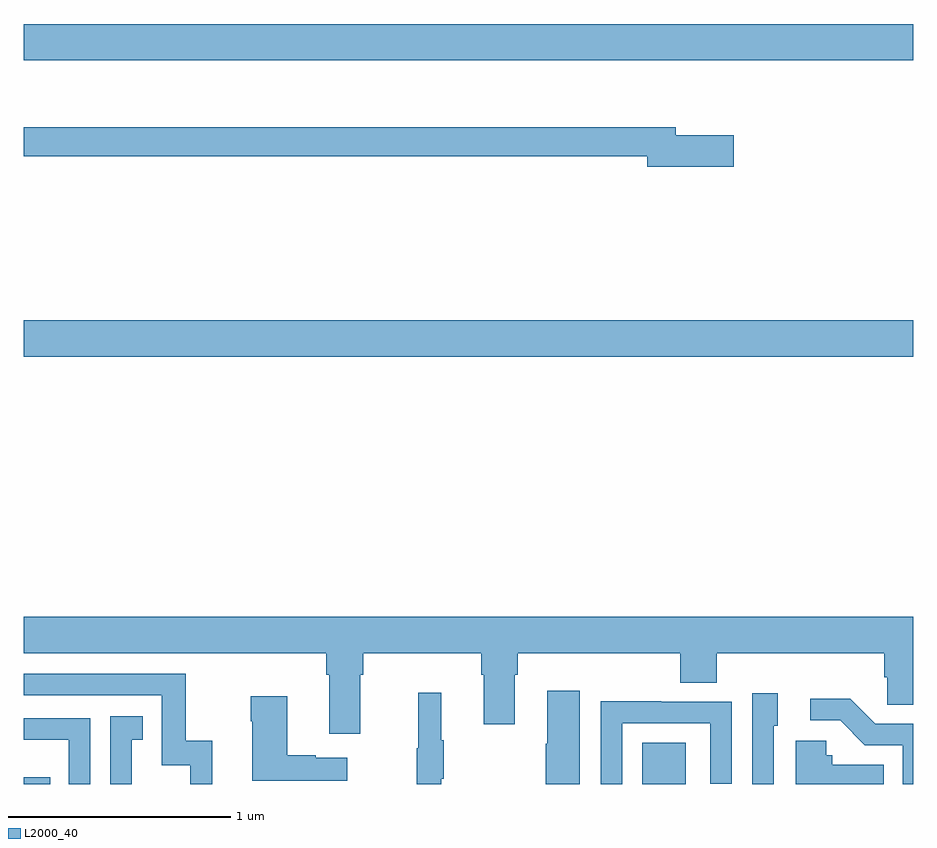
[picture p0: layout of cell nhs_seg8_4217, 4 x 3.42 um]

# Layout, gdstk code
import gdstk
lib = gdstk.Library(unit=1e-6, precision=1e-09)
def R(c, l, rs):  # rectangles x0, y0, x1, y1
    for r in rs: c.add(gdstk.rectangle(r[:2], r[2:], *l))
def P(c, l, *ps):  # polygons
    for p in ps: c.add(gdstk.Polygon(p, *l))
L2000_40 = (2000, 40)

nhs_seg8_4217 = lib.new_cell('nhs_seg8_4217')
R(nhs_seg8_4217, L2000_40, [(369,1127.9,369.119,1127.931), (371.78,1127.9,371.977,1128.085), (369,1129.82,373,1129.984), (369,1131.152,373,1131.316)])
P(nhs_seg8_4217, L2000_40, [(372.193,1130.817),(371.932,1130.817),(371.932,1130.851),(369,1130.851),(369,1130.722),(371.804,1130.722),(371.804,1130.675),(372.193,1130.675)],
  [(369,1128.488),(370.361,1128.488),(370.361,1128.392),(370.373,1128.392),(370.373,1128.126),(370.513,1128.126),(370.513,1128.392),(370.526,1128.392),(370.526,1128.488),(371.057,1128.488),(371.057,1128.392),(371.069,1128.392),(371.069,1128.168),(371.209,1128.168),(371.209,1128.392),(371.222,1128.392),(371.222,1128.488),(371.951,1128.488),(371.951,1128.355),(372.116,1128.355),(372.116,1128.488),(372.869,1128.488),(372.869,1128.379),(372.882,1128.379),(372.882,1128.256),(373,1128.256),(373,1128.652),(369,1128.652)],
  [(369.848,1128.094),(369.73,1128.094),(369.73,1128.396),(369,1128.396),(369,1128.3),(369.621,1128.3),(369.621,1127.985),(369.75,1127.985),(369.75,1127.9),(369.848,1127.9)],
  [(371.5,1128.319),(371.354,1128.319),(371.354,1128.08),(371.347,1128.08),(371.347,1127.9),(371.5,1127.9)],
  [(370.877,1127.923),(370.888,1127.923),(370.888,1128.097),(370.877,1128.097),(370.877,1128.31),(370.774,1128.31),(370.774,1128.06),(370.767,1128.06),(370.767,1127.9),(370.877,1127.9)],
  [(372.372,1128.162),(372.391,1128.162),(372.391,1128.307),(372.276,1128.307),(372.276,1127.9),(372.372,1127.9)],
  [(370.456,1128.019),(370.313,1128.019),(370.313,1128.029),(370.186,1128.029),(370.186,1128.295),(370.021,1128.295),(370.021,1128.182),(370.028,1128.182),(370.028,1127.915),(370.456,1127.915)],
  [(373,1128.171),(372.828,1128.171),(372.715,1128.284),(372.537,1128.284),(372.537,1128.186),(372.671,1128.186),(372.782,1128.075),(372.951,1128.075),(372.951,1127.9),(373,1127.9)],
  [(371.691,1128.174),(372.087,1128.174),(372.087,1127.901),(372.183,1127.901),(372.183,1128.27),(371.867,1128.27),(371.867,1128.272),(371.595,1128.272),(371.595,1127.9),(371.691,1127.9)],
  [(369.487,1128.099),(369.536,1128.099),(369.536,1128.205),(369.39,1128.205),(369.39,1127.9),(369.487,1127.9)],
  [(369.3,1128.195),(369,1128.195),(369,1128.098),(369.204,1128.098),(369.204,1127.9),(369.3,1127.9)],
  [(372.866,1127.986),(372.636,1127.986),(372.636,1128.03),(372.609,1128.03),(372.609,1128.094),(372.47,1128.094),(372.47,1127.9),(372.866,1127.9)])

lib.write_gds('nhs_seg8_4217.gds')
